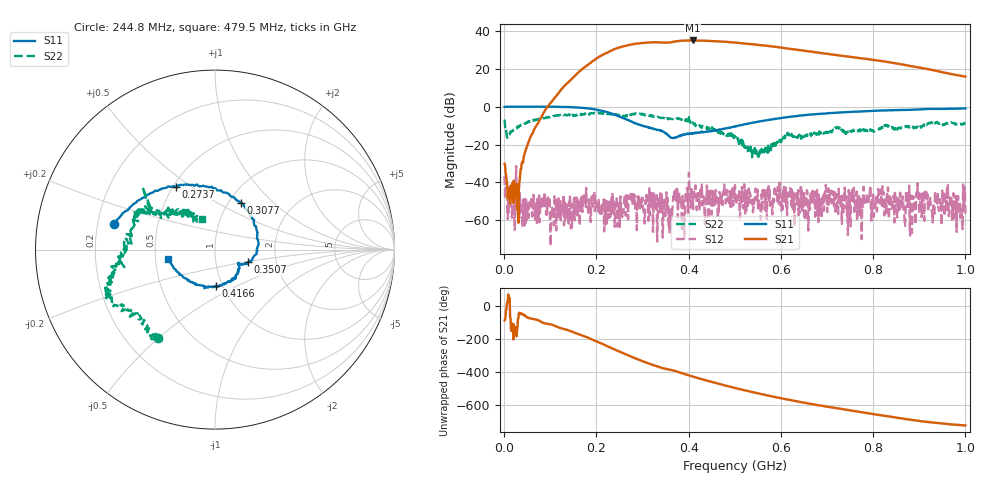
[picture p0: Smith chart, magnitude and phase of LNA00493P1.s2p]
! Created with skrf 1.9.0 (http://scikit-rf.org).
# Hz S RI R 50.0
!freq ReS11 ImS11 ReS21 ImS21 ReS12 ImS12 ReS22 ImS22
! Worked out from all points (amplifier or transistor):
!   1001 points, 1 MHz to 1 GHz, reference 50 ohm
!   highest |S21| = 35.0 dB at 408.6 MHz (marker M1)
!   |S21| within 3 dB of that: 260.1 MHz to 575.8 MHz (315.7 MHz wide, 75.5 % of centre)
!   unconditionally stable (mu >= 1): 178.7 MHz to 193.6 MHz; 198 MHz to 400.2 MHz; 401.3 MHz to end of sweep (the widest 3 of 39)
!   at 166.8 MHz: K = 1.22, MAG = 33.1 dB, |S12| = -52.5 dB
!   at 500.5 MHz: K = 1.21, MAG = 34.8 dB, |S12| = -41.3 dB
!   at 1 GHz: K = 8.94, MAG = 23.7 dB, |S12| = -56.5 dB
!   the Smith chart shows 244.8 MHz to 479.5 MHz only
!   S11 on the Smith chart (normalised r, x): 244.8 MHz: 0.27, +0.12; 273.7 MHz: 0.52, +0.44; 307.7 MHz: 1.13, +0.65; 350.6 MHz: 1.43, -0.21; 416.6 MHz: 0.93, -0.39; 479.5 MHz: 0.58, -0.06
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1000000  0.991 0.00793  0.00272 -0.031  0.00227 0.0145  0.3708 0.2696
1.08892e8  0.5353 -0.8437  -0.7728 -1.477  0.00332 -0.00278  0.431 -0.372
1.67833e8  -0.205 -0.9137  -9.519 -0.741  0.0025 -0.0033  0.028 -0.647
2.11789e8  -0.6747 -0.3968  -15.5 16.79  -0.00216 -0.00134  -0.2065 -0.6434
2.44756e8  -0.5648 0.1444  -0.4681 35.13  0.00095 0.0023  -0.3203 -0.4923
2.73727e8  -0.2166 0.3505  24.86 35.55  -0.00231 -0.00293  -0.527 -0.3078
3.07693e8  0.1424 0.2609  46.65 15.35  -0.00282 0.000735  -0.5822 -0.1737
3.34666e8  0.2429 0.0346  49.53 -7.642  -0.00138 0.00333  -0.5228 -0.0272
3.5065e8  0.1817 -0.0699  45.62 -17.8  0.000131 -0.00268  -0.4973 0.0614
3.77623e8  0.1354 -0.095  41.5 -34.8  0.00172 0.00266  -0.4548 0.2147
4.08592e8  0.0518 -0.1934  21.09 -51.95  0.000132 0.00456  -0.3192 0.2196
4.16584e8  0.00404 -0.2009  14.86 -54  0.00514 0.00326  -0.276 0.2013
4.45555e8  -0.1378 -0.1806  -6.903 -53.99  0.00035 0.00408  -0.1764 0.1861
4.79521e8  -0.2607 -0.0504  -28.02 -43.5  0.00605 0.000761  -0.073 0.1688
5.005e8  -0.2976 0.0648  -36.64 -33.28  0.00709 0.00484  -0.0755 0.1386
5.3047e8  -0.2739 0.2302  -42.14 -17.09  0.00597 -0.00345  -0.058 0.0519
5.64436e8  -0.1811 0.3886  -41.15 -0.4963  0.00449 -0.00441  -0.062 -0.0106
6.11389e8  0.0229 0.5227  -31.03 15.58  0.000614 -0.0022  -0.1729 -0.0477
6.67333e8  0.2958 0.5457  -15.51 23.37  0.00204 0.00223  -0.178 -0.0358
7.55245e8  0.6237 0.3889  2.377 20.15  7.46e-05 -0.00322  -0.233 0.0271
8.34166e8  0.7894 0.1619  9.904 11.21  0.00108 0.000172  -0.3064 0.0179
1e9  0.8243 -0.3685  6.215 -0.7116  5.32e-05 -0.00149  -0.2488 0.2507
